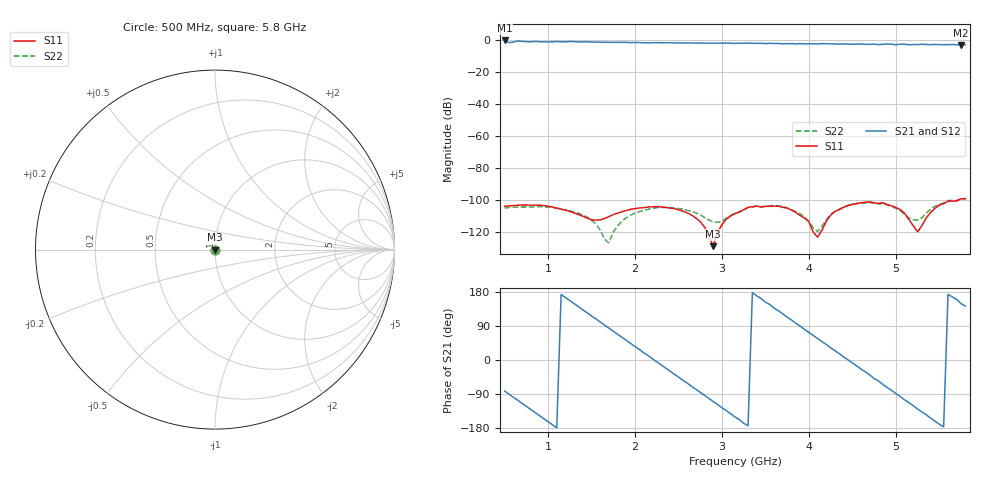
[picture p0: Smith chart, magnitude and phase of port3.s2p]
# GHZ S RI R 50
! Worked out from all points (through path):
!   107 points, 500 MHz to 5.8 GHz, reference 50 ohm
!   highest |S21| = -0.47 dB at 500 MHz (marker M1); lowest = -3.2 dB at 5.75 GHz (marker M2)
!   group delay of S21, straight-line fit = 448 ps
!   lowest |S11| = -129.0 dB at 2.9 GHz (marker M3), VSWR 1.00, Z = 50 - j9.72e-06 ohm
!   |S11| at or under -10 dB: start of sweep to end of sweep
!   |S22| runs from -126.9 to -99.3 dB; largest |S21 - S12| = 0.014
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0.5  5.3e-06 -3.4e-06  0.1316 -0.9384  0.132 -0.9379  5.43e-06 -1.17e-06
0.65  3.26e-06 -5.89e-06  -0.2522 -0.8756  -0.2513 -0.8755  5.07e-06 -2.94e-06
0.95  -2.48e-06 -6.1e-06  -0.7768 -0.3656  -0.7766 -0.3647  2.18e-06 -5.62e-06
1.15  -3.98e-06 -3.21e-06  -0.8566 0.1086  -0.8566 0.1089  -5.34e-07 -5.06e-06
1.4  -2.86e-06 -1.1e-06  -0.5809 0.635  -0.5813 0.6361  -2.31e-06 -2.46e-06
1.8  -2.5e-06 -2.91e-06  0.3095 0.7656  0.3103 0.7638  1.23e-06 -9.53e-07
2.05  -5.01e-06 -2.38e-06  0.7195 0.3803  0.7191 0.379  1.4e-06 -4.06e-06
2.3  -5.94e-06 9.08e-07  0.7817 -0.1762  0.7819 -0.1727  -2.12e-06 -5.39e-06
2.6  -2.37e-06 3.12e-06  0.3826 -0.6943  0.3823 -0.6934  -4.37e-06 -1.78e-06
2.9  -3.42e-07 -9.72e-08  -0.2633 -0.7353  -0.2619 -0.7363  -1.92e-06 -6.75e-07
3.15  -3.06e-06 -2.12e-06  -0.6677 -0.3776  -0.6674 -0.3828  -2.24e-06 -3e-06
3.3  -5.77e-06 -6.14e-07  -0.7797 -0.0869  -0.7814 -0.0807  -4.81e-06 -3.09e-06
3.55  -5.18e-06 3.46e-06  -0.6458 0.4265  -0.6393 0.4326  -6.48e-06 6.11e-07
3.8  -1.63e-06 4.48e-06  -0.2029 0.7256  -0.2059 0.722  -3.89e-06 2.91e-06
4.05  -2.57e-07 9.39e-07  0.3164 0.674  0.3177 0.6731  -9.98e-07 8.56e-07
4.45  -6.31e-06 2e-06  0.7289 0.00503  0.728 0.0127  -6.59e-06 -7.74e-07
4.7  -4.98e-06 7.1e-06  0.5563 -0.4576  0.5561 -0.4599  -7.29e-06 3.91e-06
4.95  1.6e-06 6.28e-06  0.1234 -0.7151  0.1241 -0.7155  -2.65e-06 5.62e-06
5.2  1.56e-06 6.36e-10  -0.3577 -0.6063  -0.361 -0.6027  -1.6e-06 1.76e-06
5.45  -5.38e-06 -1.44e-07  -0.6766 -0.2274  -0.6752 -0.2252  -6.09e-06 1.4e-06
5.75  -5.18e-06 9.42e-06  -0.5893 0.3589  -0.5972 0.3545  -5.87e-06 9.05e-06
5.8  -4.61e-06 9.86e-06  -0.5544 0.4273  -0.5454 0.4342  -5.38e-06 9.33e-06
